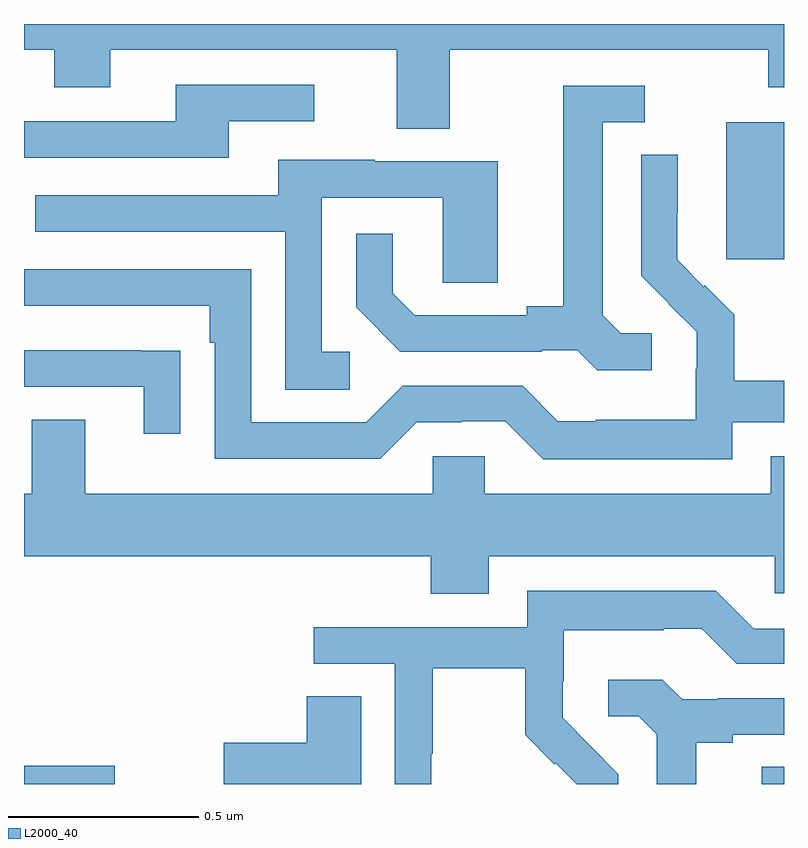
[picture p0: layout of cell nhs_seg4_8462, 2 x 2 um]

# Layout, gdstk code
import gdstk
lib = gdstk.Library(unit=1e-6, precision=1e-09)
def R(c, l, rs):  # rectangles x0, y0, x1, y1
    for r in rs: c.add(gdstk.rectangle(r[:2], r[2:], *l))
def P(c, l, *ps):  # polygons
    for p in ps: c.add(gdstk.Polygon(p, *l))
L2000_40 = (2000, 40)

nhs_seg4_8462 = lib.new_cell('nhs_seg4_8462')
R(nhs_seg4_8462, L2000_40, [(215,782.9,215.239,782.948), (216.941,782.9,217,782.945), (216.848,784.281,217,784.642)])
P(nhs_seg4_8462, L2000_40, [(216.121,784.832),(216.958,784.832),(216.958,784.733),(217,784.733),(217,784.9),(215,784.9),(215,784.832),(215.08,784.832),(215.08,784.733),(215.227,784.733),(215.227,784.832),(215.981,784.832),(215.981,784.624),(216.121,784.624)],
  [(215.539,784.644),(215.764,784.644),(215.764,784.74),(215.399,784.74),(215.399,784.644),(215,784.644),(215,784.548),(215.539,784.548)],
  [(216.652,784.086),(216.57,784.086),(216.523,784.133),(216.523,784.641),(216.634,784.641),(216.634,784.737),(216.419,784.737),(216.419,784.157),(216.323,784.157),(216.323,784.134),(216.028,784.134),(215.971,784.191),(215.971,784.348),(215.874,784.348),(215.874,784.154),(215.99,784.038),(216.362,784.038),(216.362,784.041),(216.456,784.041),(216.508,783.989),(216.652,783.989)],
  [(216.864,783.852),(217,783.852),(217,783.961),(216.869,783.961),(216.869,784.135),(216.792,784.212),(216.789,784.209),(216.719,784.28),(216.719,784.402),(216.72,784.402),(216.72,784.556),(216.624,784.556),(216.624,784.238),(216.697,784.165),(216.696,784.164),(216.77,784.09),(216.77,783.993),(216.768,783.993),(216.768,783.859),(216.505,783.859),(216.505,783.855),(216.405,783.855),(216.312,783.948),(215.997,783.948),(215.901,783.852),(215.598,783.852),(215.598,784.254),(215,784.254),(215,784.158),(215.489,784.158),(215.489,784.061),(215.502,784.061),(215.502,783.756),(215.937,783.756),(216.033,783.852),(216.152,783.852),(216.152,783.855),(216.267,783.855),(216.367,783.755),(216.864,783.755)],
  [(215.857,784.038),(215.784,784.038),(215.784,784.443),(216.102,784.443),(216.102,784.219),(216.247,784.219),(216.247,784.539),(215.923,784.539),(215.923,784.543),(215.669,784.543),(215.669,784.449),(215.029,784.449),(215.029,784.353),(215.688,784.353),(215.688,783.937),(215.857,783.937)],
  [(215.411,784.04),(215.309,784.04),(215.309,784.041),(215,784.041),(215,783.945),(215.315,783.945),(215.315,783.822),(215.411,783.822)],
  [(216.223,783.5),(216.975,783.5),(216.975,783.402),(217,783.402),(217,783.763),(216.965,783.763),(216.965,783.664),(216.213,783.664),(216.213,783.762),(216.075,783.762),(216.075,783.664),(215.161,783.664),(215.161,783.859),(215.021,783.859),(215.021,783.664),(215,783.664),(215,783.5),(216.071,783.5),(216.071,783.401),(216.223,783.401)],
  [(216.072,782.98),(216.075,782.98),(216.075,783.204),(216.319,783.204),(216.319,783.029),(216.396,782.952),(216.399,782.955),(216.455,782.9),(216.564,782.9),(216.564,782.926),(216.491,782.999),(216.492,783),(216.418,783.074),(216.418,783.171),(216.42,783.171),(216.42,783.305),(216.683,783.305),(216.683,783.309),(216.783,783.309),(216.876,783.216),(217,783.216),(217,783.309),(216.921,783.309),(216.821,783.409),(216.324,783.409),(216.324,783.312),(215.763,783.312),(215.763,783.216),(215.976,783.216),(215.976,782.9),(216.072,782.9)],
  [(216.769,783.008),(216.865,783.008),(216.865,783.03),(217,783.03),(217,783.126),(216.826,783.126),(216.826,783.123),(216.732,783.123),(216.68,783.175),(216.537,783.175),(216.537,783.078),(216.618,783.078),(216.665,783.031),(216.665,782.9),(216.769,782.9)],
  [(215.887,783.131),(215.744,783.131),(215.744,783.008),(215.526,783.008),(215.526,782.9),(215.887,782.9)])

lib.write_gds('nhs_seg4_8462.gds')
